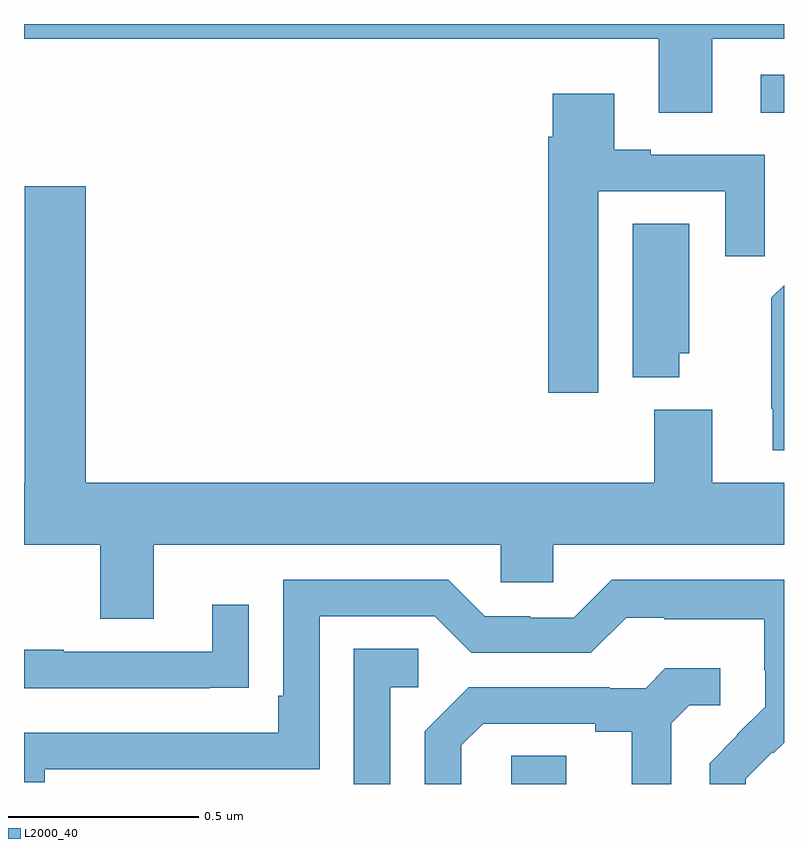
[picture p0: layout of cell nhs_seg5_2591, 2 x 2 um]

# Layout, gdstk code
import gdstk
lib = gdstk.Library(unit=1e-6, precision=1e-09)
def R(c, l, rs):  # rectangles x0, y0, x1, y1
    for r in rs: c.add(gdstk.rectangle(r[:2], r[2:], *l))
def P(c, l, *ps):  # polygons
    for p in ps: c.add(gdstk.Polygon(p, *l))
L2000_40 = (2000, 40)

nhs_seg5_2591 = lib.new_cell('nhs_seg5_2591')
R(nhs_seg5_2591, L2000_40, [(147.282,854.799,147.427,854.873), (147.939,856.565,148,856.666)])
P(nhs_seg5_2591, L2000_40, [(147.811,856.76),(148,856.76),(148,856.799),(146,856.799),(146,856.76),(147.671,856.76),(147.671,856.566),(147.811,856.566)],
  [(147.511,856.359),(147.845,856.359),(147.845,856.188),(147.949,856.188),(147.949,856.455),(147.649,856.455),(147.649,856.468),(147.553,856.468),(147.553,856.615),(147.392,856.615),(147.392,856.502),(147.38,856.502),(147.38,855.828),(147.511,855.828)],
  [(146.341,855.428),(147.255,855.428),(147.255,855.33),(147.393,855.33),(147.393,855.428),(148,855.428),(148,855.592),(147.811,855.592),(147.811,855.784),(147.659,855.784),(147.659,855.592),(146.162,855.592),(146.162,856.372),(146.002,856.372),(146.002,855.592),(146,855.592),(146,855.428),(146.201,855.428),(146.201,855.234),(146.341,855.234)],
  [(147.724,855.933),(147.751,855.933),(147.751,856.274),(147.602,856.274),(147.602,855.869),(147.724,855.869)],
  [(148,856.111),(147.967,856.078),(147.967,855.787),(147.971,855.787),(147.971,855.677),(148,855.677)],
  [(147.899,854.813),(147.969,854.883),(147.972,854.88),(148,854.908),(148,855.337),(147.547,855.337),(147.447,855.237),(147.332,855.237),(147.332,855.24),(147.213,855.24),(147.117,855.336),(146.682,855.336),(146.682,855.031),(146.669,855.031),(146.669,854.934),(146,854.934),(146,854.804),(146.054,854.804),(146.054,854.838),(146.778,854.838),(146.778,855.24),(147.081,855.24),(147.177,855.144),(147.492,855.144),(147.585,855.237),(147.685,855.237),(147.685,855.233),(147.948,855.233),(147.948,855.099),(147.95,855.099),(147.95,855.002),(147.876,854.928),(147.877,854.927),(147.804,854.854),(147.804,854.799),(147.899,854.799)],
  [(146.489,855.052),(146.591,855.052),(146.591,855.271),(146.495,855.271),(146.495,855.147),(146.105,855.147),(146.105,855.152),(146,855.152),(146,855.051),(146.489,855.051)],
  [(146.964,855.054),(147.037,855.054),(147.037,855.155),(146.868,855.155),(146.868,854.799),(146.964,854.799)],
  [(147.151,854.901),(147.208,854.958),(147.503,854.958),(147.503,854.936),(147.599,854.936),(147.599,854.799),(147.703,854.799),(147.703,854.959),(147.75,855.006),(147.832,855.006),(147.832,855.103),(147.688,855.103),(147.636,855.051),(147.542,855.051),(147.542,855.054),(147.17,855.054),(147.054,854.938),(147.054,854.799),(147.151,854.799)])

lib.write_gds('nhs_seg5_2591.gds')
